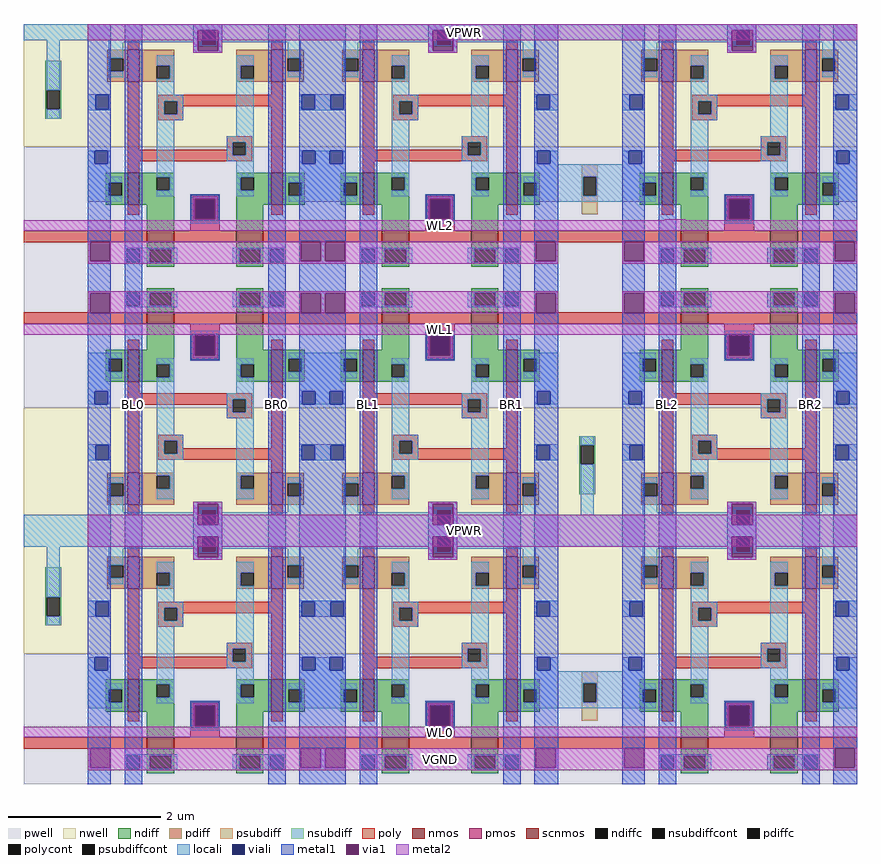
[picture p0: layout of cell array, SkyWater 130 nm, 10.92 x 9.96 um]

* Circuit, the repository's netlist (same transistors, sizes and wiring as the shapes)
*Array Cell - Scott Fischer
.include cell_1rw.sp

.subckt cell_1rw BL BR VGND VPWR VPB VNB WL
*Access Transistors
X0 QB WL BR VNB sky130_fd_pr__nfet_01v8 w=0.36 l=0.15
X2 BL WL Q VNB sky130_fd_pr__nfet_01v8 w=0.36 l=0.15

*LEFT INV 
X1 Q QB VGND VNB sky130_fd_pr__nfet_01v8 w=0.42 l=0.15
X6 Q QB VPWR VPB sky130_fd_pr__pfet_01v8 w=0.42 l=0.15

*RIGHT INV
X5 VPWR Q QB VPB sky130_fd_pr__pfet_01v8 w=0.42 l=0.15
X7 VGND Q QB VNB sky130_fd_pr__nfet_01v8 w=0.42 l=0.15
.ends


.subckt array VPWR WL0 BL0 BR0 BL1 BR1 BL2 BR2 VGND WL1
XBC1 BL0 BR0 VGND VPWR VPWR VGND WL0 cell_1rw
XBC2 BL1 BR1 VGND VPWR VPWR VGND WL0 cell_1rw
XBC3 BL2 BR2 VGND VPWR VPWR VGND WL0 cell_1rw
XBC4 BL0 BR0 VGND VPWR VPWR VGND WL1 cell_1rw
XBC5 BL1 BR1 VGND VPWR VPWR VGND WL1 cell_1rw
XBC6 BL2 BR2 VGND VPWR VPWR VGND WL1 cell_1rw
XBC7 BL0 BR0 VGND VPWR VPWR VGND WL2 cell_1rw
XBC8 BL1 BR1 VGND VPWR VPWR VGND WL2 cell_1rw
XBC9 BL2 BR2 VGND VPWR VPWR VGND WL2 cell_1rw
.ends

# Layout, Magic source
magic
tech sky130A
<< nwell >>
rect -84 332 0 493
<< pwell >>
rect -84 493 0 664
<< poly >>
rect -84 603 0 618
<< locali >>
rect -84 332 0 353
<< metal1 >>
rect 48 0 71 996
rect 236 0 259 996
rect 356 0 379 996
rect 544 0 567 996
rect 748 0 771 996
rect 936 0 959 996
<< metal2 >>
rect 0 975 1008 996
rect 140 739 167 740
rect 448 739 475 740
rect 756 739 783 740
rect -84 725 1008 739
rect -84 589 1008 603
rect 0 311 986 353
rect -84 61 1008 75
rect 0 18 924 47
use ntap_1rw  ntap_1rw_0
transform 1 0 -392 0 1 0
box 308 0 392 332
use cell_1rw  cell_1rw_0
transform 1 0 52 0 1 95
box -52 -95 256 237
use cell_1rw  cell_1rw_3
transform 1 0 52 0 -1 569
box -52 -95 256 237
use cell_1rw  cell_1rw_1
transform 1 0 360 0 1 95
box -52 -95 256 237
use cell_1rw  cell_1rw_4
transform 1 0 360 0 -1 569
box -52 -95 256 237
use cell_1rw  cell_1rw_2
transform 1 0 752 0 1 95
box -52 -95 256 237
use ptap_1rw  ptap_1rw_0
transform 1 0 308 0 1 0
box 308 0 392 332
use ntap_1rw  ntap_1rw_2
transform 1 0 308 0 -1 664
box 308 0 392 332
use cell_1rw  cell_1rw_5
transform 1 0 752 0 -1 569
box -52 -95 256 237
use ntap_1rw  ntap_1rw_1
transform 1 0 -392 0 1 664
box 308 0 392 332
use cell_1rw  cell_1rw_6
transform 1 0 52 0 1 759
box -52 -95 256 237
use cell_1rw  cell_1rw_7
transform 1 0 360 0 1 759
box -52 -95 256 237
use cell_1rw  cell_1rw_8
transform 1 0 752 0 1 759
box -52 -95 256 237
use ptap_1rw  ptap_1rw_1
transform 1 0 308 0 1 664
box 308 0 392 332
<< labels >>
rlabel metal2 0 311 986 353 1 VPWR
port 1 n
rlabel metal1 48 0 71 996 1 BL0
port 5 n
rlabel metal1 236 0 259 996 1 BR0
port 6 n
rlabel metal1 356 0 379 996 1 BL1
port 7 n
rlabel metal1 544 0 567 996 1 BR1
port 8 n
rlabel metal2 0 18 924 47 1 VGND
port 11 n
rlabel metal2 0 975 986 996 1 VPWR
port 1 n
rlabel metal1 748 0 771 996 1 BL2
port 9 n
rlabel metal1 936 0 959 996 1 BR2
port 10 n
rlabel metal2 -84 61 1008 75 1 WL0
port 2 n
rlabel metal2 -84 725 1008 739 1 WL2
rlabel metal2 -84 589 1008 603 1 WL1
port 12 n
<< end >>

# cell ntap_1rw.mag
magic
tech sky130A
<< nwell >>
rect 308 171 392 332
<< pwell >>
rect 308 0 392 171
<< nsubdiff >>
rect 336 245 357 284
rect 336 220 338 245
rect 355 220 357 245
rect 336 208 357 220
<< nsubdiffcont >>
rect 338 220 355 245
<< poly >>
rect 308 46 392 61
<< locali >>
rect 308 311 392 332
rect 338 245 355 311
rect 338 208 355 220
<< metal2 >>
rect 308 61 392 75
<< end >>

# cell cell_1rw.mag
magic
tech sky130A
<< nwell >>
rect -52 76 256 237
<< pwell >>
rect -52 -95 256 76
<< nmos >>
rect 0 0 15 42
rect 188 0 203 42
<< scnmos >>
rect 25 -49 61 -34
rect 142 -49 178 -34
<< pmos >>
rect 0 161 15 203
rect 188 161 203 203
<< ndiff >>
rect -29 29 0 42
rect -29 12 -25 29
rect -8 12 0 29
rect -29 0 0 12
rect 15 36 61 42
rect 15 19 38 36
rect 55 19 61 36
rect 15 0 61 19
rect 142 36 188 42
rect 142 19 148 36
rect 165 19 188 36
rect 25 -34 61 0
rect 142 0 188 19
rect 203 29 232 42
rect 203 12 211 29
rect 228 12 232 29
rect 203 0 232 12
rect 142 -34 178 0
rect 25 -58 61 -49
rect 25 -75 29 -58
rect 57 -75 61 -58
rect 25 -81 61 -75
rect 142 -58 178 -49
rect 142 -75 146 -58
rect 174 -75 178 -58
rect 142 -81 178 -75
<< pdiff >>
rect -27 192 0 203
rect -27 175 -23 192
rect -6 175 0 192
rect -27 161 0 175
rect 15 182 61 203
rect 15 165 38 182
rect 55 165 61 182
rect 15 161 61 165
rect 142 182 188 203
rect 142 165 148 182
rect 165 165 188 182
rect 142 161 188 165
rect 203 192 231 203
rect 203 175 210 192
rect 227 175 231 192
rect 203 161 231 175
<< ndiffc >>
rect -25 12 -8 29
rect 38 19 55 36
rect 148 19 165 36
rect 211 12 228 29
rect 29 -75 57 -58
rect 146 -75 174 -58
<< pdiffc >>
rect -23 175 -6 192
rect 38 165 55 182
rect 148 165 165 182
rect 210 175 227 192
<< poly >>
rect 0 203 15 216
rect 188 203 203 216
rect 0 72 15 161
rect 188 144 203 161
rect 40 136 203 144
rect 40 119 48 136
rect 65 129 203 136
rect 65 119 73 129
rect 40 111 73 119
rect 130 82 163 90
rect 130 72 138 82
rect 0 65 138 72
rect 155 65 163 82
rect 0 57 163 65
rect 0 42 15 57
rect 188 42 203 129
rect 0 -13 15 0
rect 82 6 121 14
rect 82 -17 90 6
rect 113 -17 121 6
rect 82 -34 121 -17
rect 188 -13 203 0
rect -52 -49 25 -34
rect 61 -49 142 -34
rect 178 -49 256 -34
<< polycont >>
rect 48 119 65 136
rect 138 65 155 82
rect 90 -17 113 6
<< locali >>
rect -52 227 256 237
rect -52 216 98 227
rect -25 213 98 216
rect -25 192 -6 213
rect 86 210 98 213
rect 115 216 256 227
rect 115 213 227 216
rect 115 210 124 213
rect 86 207 124 210
rect -25 175 -23 192
rect -25 167 -6 175
rect 38 182 61 196
rect 55 165 61 182
rect -52 144 -22 145
rect -52 125 -42 144
rect -25 125 -22 144
rect -52 124 -22 125
rect 38 144 61 165
rect 142 182 165 196
rect 142 165 148 182
rect 210 192 227 213
rect 210 167 227 175
rect 38 136 73 144
rect 38 119 48 136
rect 65 119 73 136
rect 38 111 73 119
rect -52 54 -43 71
rect -26 54 -22 71
rect -52 37 -22 54
rect -52 29 -8 37
rect -52 12 -25 29
rect -52 4 -8 12
rect 38 36 61 111
rect 142 90 165 165
rect 225 144 256 145
rect 225 125 228 144
rect 245 125 256 144
rect 225 124 256 125
rect 130 82 165 90
rect 130 65 138 82
rect 155 65 165 82
rect 130 57 165 65
rect 55 19 61 36
rect 38 11 61 19
rect 142 36 165 57
rect 225 54 229 71
rect 246 54 256 71
rect 225 37 256 54
rect 142 19 148 36
rect 82 7 121 14
rect 142 11 165 19
rect 211 29 256 37
rect 228 12 256 29
rect 82 -18 89 7
rect 114 -18 121 7
rect 211 4 256 12
rect 82 -25 121 -18
rect -2 -58 65 -56
rect -2 -75 -1 -58
rect 16 -75 29 -58
rect 57 -75 65 -58
rect -2 -77 65 -75
rect 138 -58 205 -56
rect 138 -75 146 -58
rect 174 -75 187 -58
rect 204 -75 205 -58
rect 138 -77 205 -75
<< viali >>
rect 98 210 115 227
rect -42 125 -25 144
rect -43 54 -26 71
rect 228 125 245 144
rect 229 54 246 71
rect 89 6 114 7
rect 89 -17 90 6
rect 90 -17 113 6
rect 113 -17 114 6
rect 89 -18 114 -17
rect -1 -75 16 -58
rect 187 -75 204 -58
<< metal1 >>
rect -52 144 -22 237
rect -52 125 -42 144
rect -25 125 -22 144
rect -52 71 -22 125
rect -52 54 -43 71
rect -26 54 -22 71
rect -52 -48 -22 54
rect -52 -74 -49 -48
rect -23 -74 -22 -48
rect -52 -95 -22 -74
rect -4 -58 19 237
rect 86 229 124 237
rect 86 202 92 229
rect 119 202 124 229
rect 86 199 124 202
rect 83 8 120 13
rect 83 -19 88 8
rect 115 -19 120 8
rect 83 -21 120 -19
rect -4 -75 -1 -58
rect 16 -75 19 -58
rect -4 -95 19 -75
rect 184 -58 207 237
rect 184 -75 187 -58
rect 204 -75 207 -58
rect 184 -95 207 -75
rect 225 144 256 237
rect 225 125 228 144
rect 245 125 256 144
rect 225 71 256 125
rect 225 54 229 71
rect 246 54 256 71
rect 225 -48 256 54
rect 225 -74 227 -48
rect 253 -74 256 -48
rect 225 -95 256 -74
<< via1 >>
rect -49 -74 -23 -48
rect 92 227 119 229
rect 92 210 98 227
rect 98 210 115 227
rect 115 210 119 227
rect 92 202 119 210
rect 88 7 115 8
rect 88 -18 89 7
rect 89 -18 114 7
rect 114 -18 115 7
rect 88 -19 115 -18
rect 227 -74 253 -48
<< metal2 >>
rect -52 229 256 237
rect -52 216 92 229
rect 86 202 92 216
rect 119 216 256 229
rect 119 202 124 216
rect 86 199 124 202
rect 85 8 118 11
rect 85 -19 88 8
rect 115 -19 118 8
rect 85 -20 118 -19
rect -52 -34 256 -20
rect -52 -74 -49 -48
rect -23 -74 227 -48
rect 253 -74 256 -48
rect -52 -77 256 -74
<< labels >>
rlabel polycont 48 119 65 136 1 q
rlabel polycont 138 65 155 82 1 qb
rlabel metal2 -52 -34 256 -20 1 wl
port 7 n
rlabel metal1 -4 -95 19 237 1 bl
port 1 n
rlabel metal1 184 -95 207 237 1 br
port 2 n
rlabel nwell -52 76 256 237 1 VPB
port 5 n
rlabel pwell -52 -95 256 76 1 VNB
port 6 n
rlabel metal2 -52 216 92 237 1 VPWR
port 4 n
rlabel metal1 -52 -95 -22 237 1 VGND
port 3 n
rlabel metal1 225 -95 256 237 1 VGND
<< end >>

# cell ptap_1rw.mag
magic
tech sky130A
<< nwell >>
rect 308 171 392 332
<< pwell >>
rect 308 0 392 171
<< psubdiff >>
rect 339 132 360 148
rect 339 107 341 132
rect 358 107 360 132
rect 339 83 360 107
<< psubdiffcont >>
rect 341 107 358 132
<< poly >>
rect 308 46 392 61
<< locali >>
rect 308 311 392 332
rect 308 132 392 148
rect 308 107 341 132
rect 358 107 392 132
rect 308 99 392 107
<< metal2 >>
rect 308 61 392 75
<< end >>
